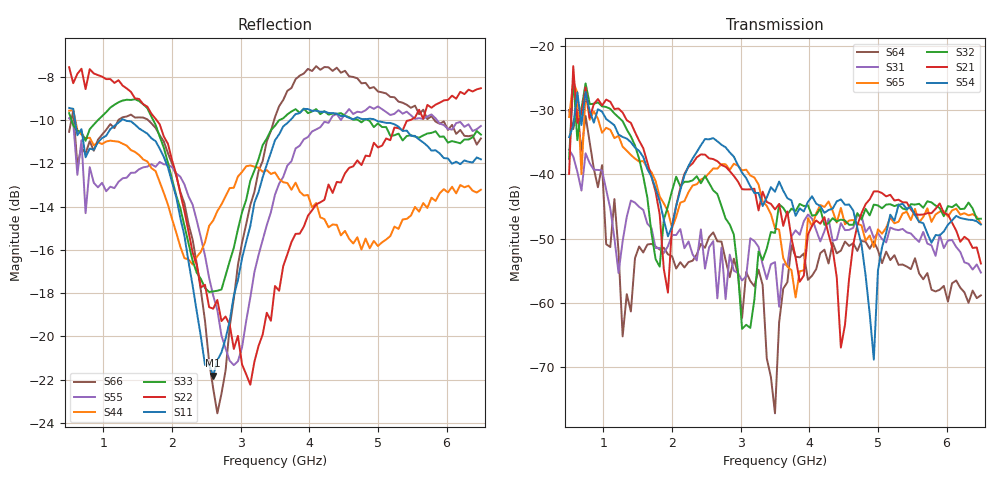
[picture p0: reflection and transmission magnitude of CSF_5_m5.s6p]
!Keysight Technologies,M9804A,MY58100912,A.14.10.03
!Date: Thursday, April 27, 2023 10:28:33
!Correction: S11(C  6-Port  )
!S12(C  6-Port  )
!S13(C  6-Port  )
!S14(C  6-Port  )
!S15(C  6-Port  )
!S16(C  6-Port  )
!S21(C  6-Port  )
!S22(C  6-Port  )
!S23(C  6-Port  )
!S24(C  6-Port  )
!S25(C  6-Port  )
!S26(C  6-Port  )
!S31(C  6-Port  )
!S32(C  6-Port  )
!S33(C  6-Port  )
!S34(C  6-Port  )
!S35(C  6-Port  )
!S36(C  6-Port  )
!S41(C  6-Port  )
!S42(C  6-Port  )
!S43(C  6-Port  )
!S44(C  6-Port  )
!S45(C  6-Port  )
!S46(C  6-Port  )
!S51(C  6-Port  )
!S52(C  6-Port  )
!S53(C  6-Port  )
!S54(C  6-Port  )
!S55(C  6-Port  )
!S56(C  6-Port  )
!S61(C  6-Port  )
!S62(C  6-Port  )
!S63(C  6-Port  )
!S64(C  6-Port  )
!S65(C  6-Port  )
!S66(C  6-Port  )
!S6P File: Measurement: :
# Hz S  RI  R 50
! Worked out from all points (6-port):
!   101 points, 500 MHz to 6.5 GHz, reference 50 ohm
!   strongest paths, dB at 500 MHz, 2 GHz, 3.5 GHz, 5 GHz, 6.5 GHz:
!     S54: -34.2, -48.1, -42.7, -55.0, -47.8
!     S21: -39.9, -48.0, -45.5, -42.6, -53.9
!     S32: -37.5, -42.5, -49.1, -44.8, -46.9
!     S65: -31.0, -48.3, -48.4, -48.6, -47.7
!     S31: -36.1, -49.5, -53.7, -49.2, -55.3
!     S64: -29.9, -52.8, -77.3, -51.8, -58.9
!   lowest |S11| = -21.8 dB at 2.6 GHz (marker M1), VSWR 1.18, Z = 42.7 + j1.97 ohm
!   |S11| at or under -10 dB: 585.7 MHz to 1.263 GHz (677.8 MHz wide, 73.3 % of centre); 1.312 GHz to 3.723 GHz (2.41 GHz wide, 95.8 % of centre); 4.968 GHz to end of sweep
